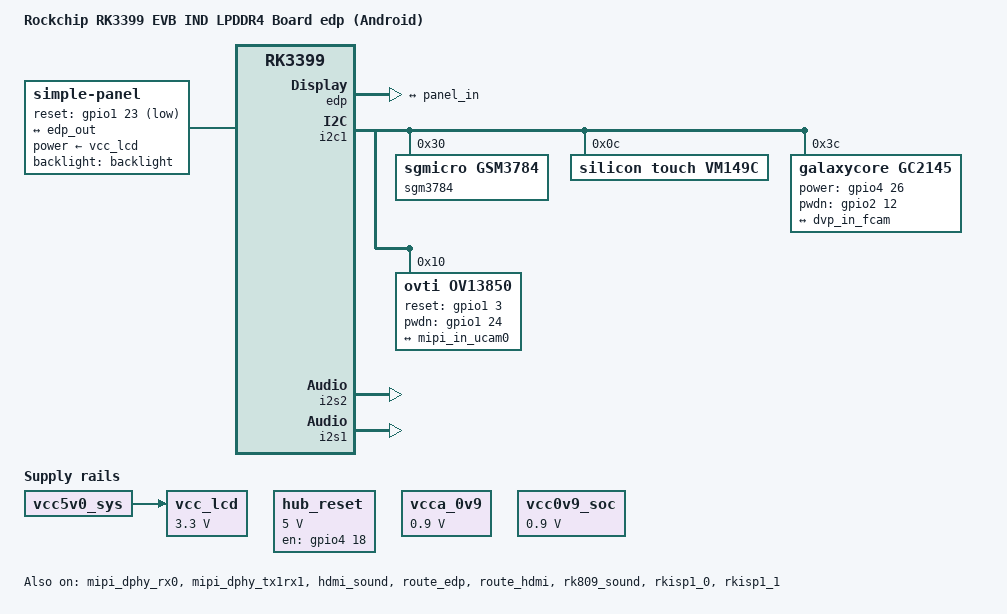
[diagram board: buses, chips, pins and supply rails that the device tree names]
// SPDX-License-Identifier: (GPL-2.0+ OR MIT)
/*
 * Copyright (c) 2019 Fuzhou Rockchip Electronics Co., Ltd
 */

/dts-v1/;

#include "rk3399-evb-ind.dtsi"
#include "rk3399-android.dtsi"

/ {
	model = "Rockchip RK3399 EVB IND LPDDR4 Board edp (Android)";
	compatible = "rockchip,android", "rockchip,rk3399-evb-ind-v13-lpddr4-android", "rockchip,rk3399";
	chosen: chosen {
		bootargs = "earlycon=uart8250,mmio32,0xff1a0000 console=ttyFIQ0 androidboot.baseband=N/A androidboot.veritymode=enforcing androidboot.hardware=rk30board androidboot.console=ttyFIQ0 init=/init initrd=0x62000001,0x00800000 coherent_pool=1m";
	};

	iram: sram@ff8d0000 {
		compatible = "mmio-sram";
		reg = <0x0 0xff8d0000 0x0 0x20000>;
	};

	hub_reset: hub_reset {
		compatible = "regulator-fixed";
		enable-active-high;
		gpio = <&gpio4 18 GPIO_ACTIVE_HIGH>;
		regulator-name = "hub_reset";
		regulator-always-on;
		regulator-boot-on;
		regulator-min-microvolt = <5000000>;
		regulator-max-microvolt = <5000000>;
	};

	vcc_lcd: vcc-lcd {
		compatible = "regulator-fixed";
		regulator-name = "vcc_lcd";
		startup-delay-us = <20000>;
		enable-active-high;
		regulator-min-microvolt = <3300000>;
		regulator-max-microvolt = <3300000>;
		regulator-boot-on;
		vin-supply = <&vcc5v0_sys>;
	};

	panel: panel {
		compatible = "simple-panel";
		backlight = <&backlight>;
		power-supply = <&vcc_lcd>;
		reset-gpios = <&gpio1 23 GPIO_ACTIVE_LOW>;
		prepare-delay-ms = <20>;
		reset-delay-ms = <20>;
		enable-delay-ms = <20>;

		display-timings {
			native-mode = <&timing0>;

			timing0: timing0 {
				clock-frequency = <200000000>;
				hactive = <1536>;
				vactive = <2048>;
				hfront-porch = <12>;
				hsync-len = <16>;
				hback-porch = <48>;
				vfront-porch = <8>;
				vsync-len = <4>;
				vback-porch = <8>;
				hsync-active = <0>;
				vsync-active = <0>;
				de-active = <0>;
				pixelclk-active = <0>;
			};
		};

		ports {
			panel_in: endpoint {
				remote-endpoint = <&edp_out>;
			};
		};
	};

	test-power {
		status = "okay";
	};
};

&backlight {
	enable-gpios = <&gpio1 13 GPIO_ACTIVE_HIGH>;
};

&dmac_bus {
	iram = <&iram>;
	rockchip,force-iram;
};

&dp_sound {
	status = "disabled";
};

&edp {
	status = "okay";
	force-hpd;

	ports {
		port@1 {
			reg = <1>;

			edp_out: endpoint {
				remote-endpoint = <&panel_in>;
			};
		};
	};
};

&edp_in_vopl {
	status = "disabled";
};

&i2c1 {
	status = "okay";

	sgm3784: sgm3784@30 {
		#address-cells = <1>;
		#size-cells = <0>;
		compatible = "sgmicro,gsm3784";
		reg = <0x30>;
		rockchip,camera-module-index = <0>;
		rockchip,camera-module-facing = "back";
		//enable-gpio = <&gpio2 RK_PB4 GPIO_ACTIVE_HIGH>;
		//strobe-gpio = <&gpio1 RK_PA3 GPIO_ACTIVE_HIGH>;
		status = "okay";
		sgm3784_led0: led@0 {
			reg = <0x0>;
			led-max-microamp = <299200>;
			flash-max-microamp = <1122000>;
			flash-max-timeout-us = <1600000>;
		};

		sgm3784_led1: led@1 {
			reg = <0x1>;
			led-max-microamp = <299200>;
			flash-max-microamp = <1122000>;
			flash-max-timeout-us = <1600000>;
		};
	};

	vm149c: vm149c@0c {
		compatible = "silicon touch,vm149c";
		status = "okay";
		reg = <0x0c>;
		rockchip,camera-module-index = <0>;
		rockchip,camera-module-facing = "back";
	};

	gc2145: gc2145@3c{
		status = "okay";
		compatible = "galaxycore,gc2145";
		reg = <0x3c>;
		pinctrl-names = "rockchip,camera_default";
		pinctrl-0 = <&cif_clkout>;

		clocks = <&cru SCLK_CIF_OUT>;
		clock-names = "xvclk";

		/* avdd-supply = <>; */
		/* dvdd-supply = <>; */
		/* dovdd-supply = <>; */
		power-gpios = <&gpio4 26 GPIO_ACTIVE_HIGH>;
		pwdn-gpios = <&gpio2 12 GPIO_ACTIVE_HIGH>;
		rockchip,camera-module-index = <1>;
		rockchip,camera-module-facing = "front";
		rockchip,camera-module-name = "CameraKing";
		rockchip,camera-module-lens-name = "Largan";
		port {
			gc2145_out: endpoint {
				remote-endpoint = <&dvp_in_fcam>;
			};
		};
	};

	ov13850: ov13850@10 {
		compatible = "ovti,ov13850";
		status = "okay";
		reg = <0x10>;
		clocks = <&cru SCLK_CIF_OUT>;
		clock-names = "xvclk";
		/* avdd-supply = <>; */
		/* dvdd-supply = <>; */
		/* dovdd-supply = <>; */
		/* reset-gpios = <>; */
		reset-gpios = <&gpio1 3 GPIO_ACTIVE_HIGH>;
		pwdn-gpios = <&gpio1 24 GPIO_ACTIVE_HIGH>;
		pinctrl-names = "rockchip,camera_default";
		pinctrl-0 = <&cif_clkout>;
		rockchip,camera-module-index = <0>;
		rockchip,camera-module-facing = "back";
		rockchip,camera-module-name = "CMK-CT0116";
		rockchip,camera-module-lens-name = "Largan-50013A1";
		lens-focus = <&vm149c>;
		flash-leds = <&sgm3784_led0 &sgm3784_led1>;
		port {
			ucam_out0: endpoint {
				remote-endpoint = <&mipi_in_ucam0>;
				//remote-endpoint = <&mipi_in_ucam1>;
				data-lanes = <1 2>;
			};
		};
	};

	ov4689: ov4689@36 {
		compatible = "ovti,ov4689";
		status = "disabled";
		reg = <0x36>;
		clocks = <&cru SCLK_CIF_OUT>;
		clock-names = "xvclk";
		/* avdd-supply = <>; */
		/* dvdd-supply = <>; */
		/* dovdd-supply = <>; */
		/* reset-gpios = <>; */
		reset-gpios = <&gpio2 10 GPIO_ACTIVE_HIGH>;
		pwdn-gpios = <&gpio4 29 GPIO_ACTIVE_HIGH>;
		pinctrl-names = "rockchip,camera_default";
		pinctrl-0 = <&cif_clkout>;
		rockchip,camera-module-index = <1>;
		rockchip,camera-module-facing = "front";
		rockchip,camera-module-name = "JSD3425-C1";
		rockchip,camera-module-lens-name = "JSD3425-C1";
		port {
			ucam_out1: endpoint {
				//remote-endpoint = <&mipi_in_ucam0>;
				remote-endpoint = <&mipi_in_ucam1>;
				data-lanes = <1 2>;
			};
		};
	};
};

&i2s2 {
	#sound-dai-cells = <0>;
	status = "okay";
};

&isp0_mmu {
	status = "okay";
};

&isp1_mmu {
	status = "okay";
};

&mipi_dphy_rx0 {
	status = "okay";

	ports {
		#address-cells = <1>;
		#size-cells = <0>;

		port@0 {
			reg = <0>;
			#address-cells = <1>;
			#size-cells = <0>;

			mipi_in_ucam0: endpoint@1 {
				reg = <1>;
				remote-endpoint = <&ucam_out0>;
				data-lanes = <1 2>;
			};
		};

		port@1 {
			reg = <1>;
			#address-cells = <1>;
			#size-cells = <0>;

			dphy_rx0_out: endpoint@0 {
				reg = <0>;
				remote-endpoint = <&isp0_mipi_in>;
			};
		};
	};
};

&mipi_dphy_tx1rx1 {
	status = "okay";

	ports {
		#address-cells = <1>;
		#size-cells = <0>;

		port@0 {
			reg = <0>;
			#address-cells = <1>;
			#size-cells = <0>;

			mipi_in_ucam1: endpoint@1 {
				reg = <1>;
				remote-endpoint = <&ucam_out1>;
				data-lanes = <1 2>;
			};
		};

		port@1 {
			reg = <1>;
			#address-cells = <1>;
			#size-cells = <0>;

			dphy_tx1rx1_out: endpoint@0 {
				reg = <0>;
				remote-endpoint = <&isp1_mipi_in>;
			};
		};
	};
};

&hdmi_sound {
	status = "okay";
};

&route_edp {
	status = "okay";
};

&route_hdmi {
	status = "okay";
	connect = <&vopl_out_hdmi>;
};

&i2s1 {
	#sound-dai-cells = <0>;
	status = "okay";
};

&rk809_sound {
	status = "okay";
};

&hdmi_in_vopb {
	status = "disabled";
};

&rkisp1_0 {
	status = "okay";

	port {
		#address-cells = <1>;
		#size-cells = <0>;

		isp0_mipi_in: endpoint@0 {
			reg = <0>;
			remote-endpoint = <&dphy_rx0_out>;
		};
	};
};

&rkisp1_1 {
	status = "okay";
	pinctrl-names = "default";
	pinctrl-0 = <&cif_clkout &isp_dvp_d0d7>;
	port {
		#address-cells = <1>;
		#size-cells = <0>;

		isp1_mipi_in: endpoint@0 {
			reg = <0>;
			remote-endpoint = <&dphy_tx1rx1_out>;
		};
		dvp_in_fcam: endpoint@1 {
			reg = <1>;
			remote-endpoint = <&gc2145_out>;
		};
	};
};


&vcca_0v9 {
	regulator-always-on;
	regulator-boot-on;
	regulator-min-microvolt = <900000>;
	regulator-max-microvolt = <900000>;
	regulator-name = "vcca_0v9";
	regulator-state-mem {
		regulator-on-in-suspend;
		regulator-suspend-microvolt = <900000>;
	};
};

&vcc0v9_soc {
	regulator-always-on;
	regulator-boot-on;
	regulator-min-microvolt = <900000>;
	regulator-max-microvolt = <900000>;

	regulator-name = "vcc0v9_soc";
	regulator-state-mem {
		regulator-off-in-suspend;
	};
};

/*
 * if enable dp_sound, should disable spdif_sound and spdif_out
 */
&spdif_out {
	status = "disabled";
};

&spdif_sound {
	status = "disabled";
};

&i2s0 {
	#sound-dai-cells = <0>;
	status = "disabled";
};

&tc358749x_sound {
	status = "disabled";
};

&pinctrl {
	lcd-panel {
		lcd_panel_reset: lcd-panel-reset {
			rockchip,pins = <1 RK_PC7 RK_FUNC_GPIO &pcfg_pull_up>;
		};
	};
};

